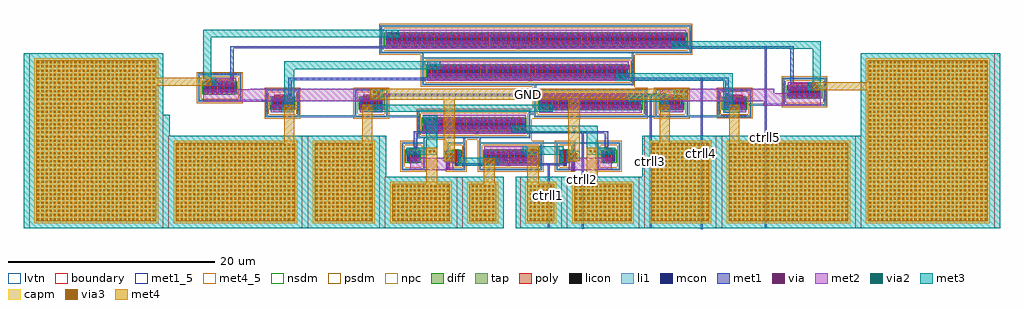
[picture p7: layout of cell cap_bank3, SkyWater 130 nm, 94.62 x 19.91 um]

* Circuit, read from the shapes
.subckt cap_bank3 GND ctrll1 ctrll2 ctrll3 ctrll4 ctrll5
XM1 n1 ctrll5 GND GND sky130_fd_pr__nfet_01v8_lvt w=1 l=0.15 m=6
XM2 GND ctrll4 n2 GND sky130_fd_pr__nfet_01v8_lvt w=1 l=0.15 m=4
XM3 GND ctrll3 n3 GND sky130_fd_pr__nfet_01v8_lvt w=1 l=0.15 m=4
XM4 n1 ctrll5 n4 GND sky130_fd_pr__nfet_01v8_lvt w=1 l=0.15 m=60
XM5 GND ctrll2 n5 GND sky130_fd_pr__nfet_01v8_lvt w=1 l=0.15 m=2
XM6 n5 ctrll2 n6 GND sky130_fd_pr__nfet_01v8_lvt w=1 l=0.15 m=20
XM7 n2 ctrll4 n7 GND sky130_fd_pr__nfet_01v8_lvt w=1 l=0.15 m=40
XM8 n8 ctrll1 GND GND sky130_fd_pr__nfet_01v8_lvt w=1 l=0.15
XM9 n9 ctrll1 n8 GND sky130_fd_pr__nfet_01v8_lvt w=1 l=0.15 m=10
XM10 n3 ctrll3 n10 GND sky130_fd_pr__nfet_01v8_lvt w=1 l=0.15 m=20
XM11 GND ctrll1 n9 GND sky130_fd_pr__nfet_01v8_lvt w=1 l=0.15
XM12 GND ctrll2 n6 GND sky130_fd_pr__nfet_01v8_lvt w=1 l=0.15 m=2
XM13 GND ctrll3 n10 GND sky130_fd_pr__nfet_01v8_lvt w=1 l=0.15 m=4
XM14 GND ctrll4 n7 GND sky130_fd_pr__nfet_01v8_lvt w=1 l=0.15 m=4
XM15 n4 ctrll5 GND GND sky130_fd_pr__nfet_01v8_lvt w=1 l=0.15 m=6
XC16 n1 n11 sky130_fd_pr__cap_mim_m3_1 w=12 l=16
XC17 n2 n11 sky130_fd_pr__cap_mim_m3_1 w=12 l=8
XC18 n3 n11 sky130_fd_pr__cap_mim_m3_1 w=6 l=8
XC19 n5 n11 sky130_fd_pr__cap_mim_m3_1 w=6 l=4
XC20 n8 n11 sky130_fd_pr__cap_mim_m3_1 w=3 l=4
XC21 n9 n12 sky130_fd_pr__cap_mim_m3_1 w=3 l=4
XC22 n6 n12 sky130_fd_pr__cap_mim_m3_1 w=6 l=4
XC23 n10 n12 sky130_fd_pr__cap_mim_m3_1 w=6 l=8
XC24 n7 n12 sky130_fd_pr__cap_mim_m3_1 w=12 l=8
XC25 n4 n12 sky130_fd_pr__cap_mim_m3_1 w=12 l=16
.ends

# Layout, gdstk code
from math import pi, radians
import gdstk
lib = gdstk.Library(unit=1e-6, precision=1e-09)
def R(c, l, rs):  # rectangles x0, y0, x1, y1
    for r in rs: c.add(gdstk.rectangle(r[:2], r[2:], *l))
def A(c, l, x, y, w, h, nx, ny, dx, dy):  # array of equal rectangles
    R(c, l, [(x+i*dx, y+j*dy, x+i*dx+w, y+j*dy+h) for i in range(nx) for j in range(ny)])
diff = (65, 20)
tap = (65, 44)
poly = (66, 20)
licon = (66, 44)
li1 = (67, 20)
mcon = (67, 44)
met1_5 = (68, 5)
met1 = (68, 20)
via = (68, 44)
met2 = (69, 20)
via2 = (69, 44)
met3 = (70, 20)
via3 = (70, 44)
met4_5 = (71, 5)
met4 = (71, 20)
capm = (89, 44)
nsdm = (93, 44)
psdm = (94, 20)
npc = (95, 20)
lvtn = (125, 44)
boundary = (235, 4)

sky130_fd_pr__cap_mim_m3 = lib.new_cell('sky130_fd_pr__cap_mim_m3_1_MYMY8D')
R(sky130_fd_pr__cap_mim_m3, met3, [(-3.75,-4.5,3.745,4.5)])
A(sky130_fd_pr__cap_mim_m3, via3, -2.95, -3.7, 0.2, 0.2, 14, 19, 0.4, 0.4)
R(sky130_fd_pr__cap_mim_m3, met4, [(-3.055,-3.805,2.555,3.805)])
R(sky130_fd_pr__cap_mim_m3, capm, [(-3.25,-4,2.75,4)])
R(sky130_fd_pr__cap_mim_m3, boundary, [(-3.75,-4.5,3.25,4.5)])

c_sky130_fd_pr__cap_mim_m3 = lib.new_cell('sky130_fd_pr__cap_mim_m3_1_CYFFME')
R(c_sky130_fd_pr__cap_mim_m3, met3, [(-6.75,-4.5,6.745,4.5)])
A(c_sky130_fd_pr__cap_mim_m3, via3, -5.95, -3.7, 0.2, 0.2, 29, 19, 0.4, 0.4)
R(c_sky130_fd_pr__cap_mim_m3, met4, [(-6.055,-3.805,5.555,3.805)])
R(c_sky130_fd_pr__cap_mim_m3, capm, [(-6.25,-4,5.75,4)])
R(c_sky130_fd_pr__cap_mim_m3, boundary, [(-6.75,-4.5,6.25,4.5)])

c_sky130_fd_pr__cap_mim_m3_ = lib.new_cell('sky130_fd_pr__cap_mim_m3_1_A6B8BZ')
R(c_sky130_fd_pr__cap_mim_m3_, met3, [(-6.75,-8.5,6.745,8.5)])
A(c_sky130_fd_pr__cap_mim_m3_, via3, -5.95, -7.7, 0.2, 0.2, 29, 39, 0.4, 0.4)
R(c_sky130_fd_pr__cap_mim_m3_, met4, [(-6.055,-7.805,5.555,7.805)])
R(c_sky130_fd_pr__cap_mim_m3_, capm, [(-6.25,-8,5.75,8)])
R(c_sky130_fd_pr__cap_mim_m3_, boundary, [(-6.75,-8.5,6.25,8.5)])

sky130_fd_pr__nfet_01v8_ = lib.new_cell('sky130_fd_pr__nfet_01v8_lvt_HNLS5R')
R(sky130_fd_pr__nfet_01v8_, diff, [(-1.11,-0.5,1.1,0.5)])
R(sky130_fd_pr__nfet_01v8_, tap, [(-1.62,-1.37,1.61,-1.2), (-1.62,-1.2,-1.45,1.2), (1.44,-1.2,1.61,1.2), (-1.62,1.2,1.61,1.37)])
R(sky130_fd_pr__nfet_01v8_, poly, [(-0.8,-0.63,-0.65,0.63), (-0.32,-0.63,-0.17,0.61), (0.16,-0.63,0.31,0.63), (0.64,-0.63,0.79,0.61), (-0.41,0.61,-0.08,0.63), (0.55,0.61,0.88,0.63), (-0.8,0.63,0.88,0.81), (0.55,0.81,0.88,0.94)])
A(sky130_fd_pr__nfet_01v8_, licon, -1.11, -1.37, 0.17, 0.17, 7, 2, 0.34, 2.57)
A(sky130_fd_pr__nfet_01v8_, licon, -1.62, -0.765, 0.17, 0.17, 1, 5, 0, 0.34)
A(sky130_fd_pr__nfet_01v8_, licon, 1.44, -0.765, 0.17, 0.17, 1, 5, 0, 0.34)
A(sky130_fd_pr__nfet_01v8_, licon, -1.05, -0.425, 0.17, 0.17, 5, 3, 0.48, 0.34)
R(sky130_fd_pr__nfet_01v8_, licon, [(0.63,0.69,0.8,0.86)])
A(sky130_fd_pr__nfet_01v8_, li1, -1.05, -0.52, 0.17, 1.04, 5, 1, 0.48, 0)
R(sky130_fd_pr__nfet_01v8_, li1, [(-1.62,-1.37,1.61,-1.2), (-1.62,-1.2,-1.45,1.2), (1.44,-1.2,1.61,1.2), (0.55,0.69,0.88,0.86), (-1.62,1.2,1.61,1.37)])
A(sky130_fd_pr__nfet_01v8_, mcon, -1.05, -0.265, 0.17, 0.17, 5, 2, 0.48, 0.36)
R(sky130_fd_pr__nfet_01v8_, mcon, [(0.63,0.69,0.8,0.86)])
A(sky130_fd_pr__nfet_01v8_, met1, -1.13, -0.5, 0.33, 0.33, 3, 1, 0.96, 0)
A(sky130_fd_pr__nfet_01v8_, met1, -1.08, -0.17, 0.23, 0.67, 3, 1, 0.96, 0)
R(sky130_fd_pr__nfet_01v8_, met1, [(-0.6,-0.5,-0.37,0.17), (0.36,-0.5,0.59,0.17), (-0.65,0.17,-0.32,0.5), (0.31,0.17,0.64,0.5), (0.55,0.66,0.88,0.94)])
A(sky130_fd_pr__nfet_01v8_, via, -1.04, -0.41, 0.15, 0.15, 3, 1, 0.96, 0)
R(sky130_fd_pr__nfet_01v8_, via, [(-0.57,0.26,-0.42,0.41), (0.39,0.26,0.54,0.41)])
R(sky130_fd_pr__nfet_01v8_, met2, [(-1.13,-0.87,1.12,-0.17), (-1.13,0.17,1.12,0.87)])
R(sky130_fd_pr__nfet_01v8_, nsdm, [(-1.235,-0.625,1.225,0.625)])
R(sky130_fd_pr__nfet_01v8_, psdm, [(-1.745,-1.495,1.735,-1.075), (-1.745,-1.075,-1.325,1.075), (1.315,-1.075,1.735,1.075), (-1.745,1.075,1.735,1.495)])
R(sky130_fd_pr__nfet_01v8_, npc, [(0.53,0.59,0.9,0.96)])
R(sky130_fd_pr__nfet_01v8_, lvtn, [(-0.98,-0.68,0.97,0.68)])
R(sky130_fd_pr__nfet_01v8_, boundary, [(-1.53,-1.28,1.53,1.28)])

c_sky130_fd_pr__nfet_01v8_ = lib.new_cell('sky130_fd_pr__nfet_01v8_lvt_B6HS5D')
R(c_sky130_fd_pr__nfet_01v8_, diff, [(-1.59,-0.5,1.58,0.5)])
R(c_sky130_fd_pr__nfet_01v8_, tap, [(-2.1,-1.37,2.09,-1.2), (-2.1,-1.2,-1.93,1.2), (1.92,-1.2,2.09,1.2), (-2.1,1.2,2.09,1.37)])
A(c_sky130_fd_pr__nfet_01v8_, poly, -1.28, -0.63, 0.15, 1.26, 3, 1, 0.96, 0)
A(c_sky130_fd_pr__nfet_01v8_, poly, -0.8, -0.63, 0.15, 1.24, 3, 1, 0.96, 0)
A(c_sky130_fd_pr__nfet_01v8_, poly, -0.89, 0.61, 0.33, 0.02, 3, 1, 0.96, 0)
R(c_sky130_fd_pr__nfet_01v8_, poly, [(-1.28,0.63,1.36,0.8), (1.03,0.8,1.36,0.94)])
A(c_sky130_fd_pr__nfet_01v8_, licon, -1.62, -1.37, 0.17, 0.17, 10, 2, 0.34, 2.57)
A(c_sky130_fd_pr__nfet_01v8_, licon, -2.1, -0.765, 0.17, 0.17, 1, 5, 0, 0.34)
A(c_sky130_fd_pr__nfet_01v8_, licon, 1.92, -0.765, 0.17, 0.17, 1, 5, 0, 0.34)
A(c_sky130_fd_pr__nfet_01v8_, licon, -1.53, -0.425, 0.17, 0.17, 7, 3, 0.48, 0.34)
R(c_sky130_fd_pr__nfet_01v8_, licon, [(1.11,0.69,1.28,0.86)])
A(c_sky130_fd_pr__nfet_01v8_, li1, -1.53, -0.52, 0.17, 1.04, 7, 1, 0.48, 0)
R(c_sky130_fd_pr__nfet_01v8_, li1, [(-2.1,-1.37,2.09,-1.2), (-2.1,-1.2,-1.93,1.2), (1.92,-1.2,2.09,1.2), (1.03,0.69,1.36,0.86), (-2.1,1.2,2.09,1.37)])
A(c_sky130_fd_pr__nfet_01v8_, mcon, -1.53, -0.265, 0.17, 0.17, 7, 2, 0.48, 0.36)
R(c_sky130_fd_pr__nfet_01v8_, mcon, [(1.11,0.69,1.28,0.86)])
A(c_sky130_fd_pr__nfet_01v8_, met1, -1.61, -0.5, 0.33, 0.36, 4, 1, 0.96, 0)
A(c_sky130_fd_pr__nfet_01v8_, met1, -1.08, -0.5, 0.23, 0.64, 3, 1, 0.96, 0)
A(c_sky130_fd_pr__nfet_01v8_, met1, -1.56, -0.14, 0.23, 0.64, 4, 1, 0.96, 0)
A(c_sky130_fd_pr__nfet_01v8_, met1, -1.13, 0.14, 0.33, 0.36, 3, 1, 0.96, 0)
R(c_sky130_fd_pr__nfet_01v8_, met1, [(1.03,0.66,1.36,0.92)])
A(c_sky130_fd_pr__nfet_01v8_, via, -1.52, -0.395, 0.15, 0.15, 4, 1, 0.96, 0)
A(c_sky130_fd_pr__nfet_01v8_, via, -1.04, 0.245, 0.15, 0.15, 3, 1, 0.96, 0)
R(c_sky130_fd_pr__nfet_01v8_, met2, [(-1.61,-0.94,1.6,-0.14), (-1.61,0.14,1.6,0.94)])
R(c_sky130_fd_pr__nfet_01v8_, nsdm, [(-1.715,-0.625,1.705,0.625)])
R(c_sky130_fd_pr__nfet_01v8_, psdm, [(-2.225,-1.495,2.215,-1.075), (-2.225,-1.075,-1.805,1.075), (1.795,-1.075,2.215,1.075), (-2.225,1.075,2.215,1.495)])
R(c_sky130_fd_pr__nfet_01v8_, npc, [(1.01,0.59,1.38,0.96)])
R(c_sky130_fd_pr__nfet_01v8_, lvtn, [(-1.46,-0.68,1.45,0.68)])
R(c_sky130_fd_pr__nfet_01v8_, boundary, [(-2.01,-1.28,2.01,1.28)])

c_sky130_fd_pr__cap_mim_m3__ = lib.new_cell('sky130_fd_pr__cap_mim_m3_1_VCH7EQ')
R(c_sky130_fd_pr__cap_mim_m3__, met3, [(-3.75,-2.5,3.745,2.5)])
A(c_sky130_fd_pr__cap_mim_m3__, via3, -2.95, -1.7, 0.2, 0.2, 14, 9, 0.4, 0.4)
R(c_sky130_fd_pr__cap_mim_m3__, met4, [(-3.055,-1.805,2.555,1.805)])
R(c_sky130_fd_pr__cap_mim_m3__, capm, [(-3.25,-2,2.75,2)])
R(c_sky130_fd_pr__cap_mim_m3__, boundary, [(-3.75,-2.5,3.25,2.5)])

c_sky130_fd_pr__nfet_01v8__ = lib.new_cell('sky130_fd_pr__nfet_01v8_lvt_648S5X')
R(c_sky130_fd_pr__nfet_01v8__, diff, [(-0.37,-0.5,0.36,0.5)])
R(c_sky130_fd_pr__nfet_01v8__, tap, [(-0.88,-1.37,0.87,-1.2), (-0.88,-1.2,-0.71,1.2), (0.7,-1.2,0.87,1.2), (-0.88,1.2,0.87,1.37)])
R(c_sky130_fd_pr__nfet_01v8__, poly, [(-0.17,-0.94,0.16,-0.61), (-0.08,-0.61,0.07,0.63)])
A(c_sky130_fd_pr__nfet_01v8__, licon, -0.88, -0.765, 0.17, 0.17, 1, 5, 0, 0.34)
A(c_sky130_fd_pr__nfet_01v8__, licon, 0.7, -0.765, 0.17, 0.17, 1, 5, 0, 0.34)
A(c_sky130_fd_pr__nfet_01v8__, licon, -0.31, -0.425, 0.17, 0.17, 1, 3, 0, 0.34)
A(c_sky130_fd_pr__nfet_01v8__, licon, 0.13, -0.425, 0.17, 0.17, 1, 3, 0, 0.34)
R(c_sky130_fd_pr__nfet_01v8__, licon, [(-0.26,-1.37,-0.09,-1.2), (0.08,-1.37,0.25,-1.2), (-0.09,-0.86,0.08,-0.69), (-0.26,1.2,-0.09,1.37), (0.08,1.2,0.25,1.37)])
R(c_sky130_fd_pr__nfet_01v8__, li1, [(-0.88,-1.37,0.87,-1.2), (-0.88,-1.2,-0.71,1.2), (0.7,-1.2,0.87,1.2), (-0.17,-0.86,0.16,-0.69), (-0.31,-0.52,-0.14,0.52), (0.13,-0.52,0.3,0.52), (-0.88,1.2,0.87,1.37)])
R(c_sky130_fd_pr__nfet_01v8__, mcon, [(-0.09,-0.86,0.08,-0.69), (-0.31,-0.265,-0.14,-0.095), (0.13,-0.265,0.3,-0.095), (-0.31,0.095,-0.14,0.265), (0.13,0.095,0.3,0.265)])
R(c_sky130_fd_pr__nfet_01v8__, met1, [(-0.15,-0.89,0.14,-0.86), (-0.17,-0.86,0.39,-0.69), (-0.15,-0.69,0.14,-0.66), (-0.46,-0.5,-0.1,0.51), (0.1,-0.5,0.46,0.51)])
R(c_sky130_fd_pr__nfet_01v8__, via, [(-0.345,-0.235,-0.195,-0.085), (0.185,-0.235,0.335,-0.085), (-0.345,0.085,-0.195,0.235), (0.185,0.085,0.335,0.235)])
R(c_sky130_fd_pr__nfet_01v8__, met2, [(-0.88,-0.5,-0.1,0.51), (0.1,-0.5,0.5,0.51)])
R(c_sky130_fd_pr__nfet_01v8__, via2, [(-0.61,-0.3,-0.41,-0.1), (0.25,-0.3,0.45,-0.1), (-0.61,0.1,-0.41,0.3), (0.25,0.1,0.45,0.3)])
R(c_sky130_fd_pr__nfet_01v8__, met3, [(-0.88,-0.5,-0.18,0.51), (0.18,-0.5,0.53,0.51)])
R(c_sky130_fd_pr__nfet_01v8__, nsdm, [(-0.495,-0.625,0.485,0.625)])
R(c_sky130_fd_pr__nfet_01v8__, psdm, [(-1.005,-1.495,0.995,-1.075), (-1.005,-1.075,-0.585,1.075), (0.575,-1.075,0.995,1.075), (-1.005,1.075,0.995,1.495)])
R(c_sky130_fd_pr__nfet_01v8__, npc, [(-0.19,-0.96,0.18,-0.59)])
R(c_sky130_fd_pr__nfet_01v8__, lvtn, [(-0.26,-0.68,0.25,0.68)])
R(c_sky130_fd_pr__nfet_01v8__, boundary, [(-0.79,-1.28,0.79,1.28)])

c_sky130_fd_pr__nfet_01v8___ = lib.new_cell('sky130_fd_pr__nfet_01v8_lvt_DJ7QE5')
R(c_sky130_fd_pr__nfet_01v8___, diff, [(-0.63,-0.5,0.62,0.5)])
R(c_sky130_fd_pr__nfet_01v8___, tap, [(-1.14,-1.37,1.13,-1.2), (-1.14,-1.2,-0.97,1.2), (0.96,-1.2,1.13,1.2), (-1.14,1.2,1.13,1.37)])
R(c_sky130_fd_pr__nfet_01v8___, poly, [(-0.32,-0.63,-0.17,0.63), (0.16,-0.63,0.31,0.61), (0.07,0.61,0.4,0.63), (-0.32,0.63,0.4,0.79), (0.07,0.79,0.4,0.94)])
A(c_sky130_fd_pr__nfet_01v8___, licon, -0.6, -1.37, 0.17, 0.17, 4, 2, 0.34, 2.57)
A(c_sky130_fd_pr__nfet_01v8___, licon, -1.14, -0.765, 0.17, 0.17, 1, 5, 0, 0.34)
A(c_sky130_fd_pr__nfet_01v8___, licon, 0.96, -0.765, 0.17, 0.17, 1, 5, 0, 0.34)
A(c_sky130_fd_pr__nfet_01v8___, licon, -0.57, -0.425, 0.17, 0.17, 3, 3, 0.48, 0.34)
R(c_sky130_fd_pr__nfet_01v8___, licon, [(0.15,0.69,0.32,0.86)])
A(c_sky130_fd_pr__nfet_01v8___, li1, -0.57, -0.52, 0.17, 1.04, 3, 1, 0.48, 0)
R(c_sky130_fd_pr__nfet_01v8___, li1, [(-1.14,-1.37,1.13,-1.2), (-1.14,-1.2,-0.97,1.2), (0.96,-1.2,1.13,1.2), (0.07,0.69,0.4,0.86), (-1.14,1.2,1.13,1.37)])
A(c_sky130_fd_pr__nfet_01v8___, mcon, -0.57, -0.265, 0.17, 0.17, 3, 2, 0.48, 0.36)
R(c_sky130_fd_pr__nfet_01v8___, mcon, [(0.15,0.69,0.32,0.86)])
R(c_sky130_fd_pr__nfet_01v8___, met1, [(-0.6,-0.5,-0.37,0.14), (-0.17,-0.5,0.16,-0.14), (0.36,-0.5,0.59,0.14), (-0.12,-0.14,0.11,0.5), (-0.65,0.14,-0.32,0.5), (0.31,0.14,0.64,0.5), (0.07,0.66,0.4,0.95)])
R(c_sky130_fd_pr__nfet_01v8___, via, [(-0.07,-0.39,0.08,-0.24), (-0.56,0.25,-0.41,0.4), (0.4,0.26,0.55,0.41)])
R(c_sky130_fd_pr__nfet_01v8___, met2, [(-0.24,-0.5,0.25,-0.14), (-0.63,0.14,0.64,0.5)])
R(c_sky130_fd_pr__nfet_01v8___, via2, [(-0.33,0.25,-0.13,0.45), (0.07,0.25,0.27,0.45)])
R(c_sky130_fd_pr__nfet_01v8___, met3, [(-0.65,0.14,0.64,0.6)])
R(c_sky130_fd_pr__nfet_01v8___, nsdm, [(-0.755,-0.625,0.745,0.625)])
R(c_sky130_fd_pr__nfet_01v8___, psdm, [(-1.265,-1.495,1.255,-1.075), (-1.265,-1.075,-0.845,1.075), (0.835,-1.075,1.255,1.075), (-1.265,1.075,1.255,1.495)])
R(c_sky130_fd_pr__nfet_01v8___, npc, [(0.05,0.59,0.42,0.96)])
R(c_sky130_fd_pr__nfet_01v8___, lvtn, [(-0.5,-0.68,0.49,0.68)])
R(c_sky130_fd_pr__nfet_01v8___, boundary, [(-1.05,-1.28,1.05,1.28)])

c_sky130_fd_pr__nfet_01v8____ = lib.new_cell('sky130_fd_pr__nfet_01v8_lvt_YTLFGX')
R(c_sky130_fd_pr__nfet_01v8____, diff, [(-4.95,-0.5,4.94,0.5)])
R(c_sky130_fd_pr__nfet_01v8____, tap, [(-5.46,-1.37,5.45,-1.2), (-5.46,-1.2,-5.29,1.2), (5.28,-1.2,5.45,1.2), (-5.46,1.2,5.45,1.37)])
A(c_sky130_fd_pr__nfet_01v8____, poly, -4.73, -0.94, 0.33, 0.08, 10, 1, 0.96, 0)
A(c_sky130_fd_pr__nfet_01v8____, poly, -4.64, -0.61, 0.15, 1.24, 20, 1, 0.48, 0)
R(c_sky130_fd_pr__nfet_01v8____, poly, [(-4.73,-0.86,4.63,-0.61)])
A(c_sky130_fd_pr__nfet_01v8____, licon, -4.85, -1.37, 0.17, 0.17, 29, 2, 0.34, 2.57)
A(c_sky130_fd_pr__nfet_01v8____, licon, -5.46, -0.765, 0.17, 0.17, 1, 5, 0, 0.34)
A(c_sky130_fd_pr__nfet_01v8____, licon, 5.28, -0.765, 0.17, 0.17, 1, 5, 0, 0.34)
A(c_sky130_fd_pr__nfet_01v8____, licon, -4.89, -0.425, 0.17, 0.17, 21, 3, 0.48, 0.34)
R(c_sky130_fd_pr__nfet_01v8____, licon, [(0.15,-0.86,0.32,-0.69)])
A(c_sky130_fd_pr__nfet_01v8____, li1, -4.89, -0.52, 0.17, 1.04, 21, 1, 0.48, 0)
R(c_sky130_fd_pr__nfet_01v8____, li1, [(-5.46,-1.37,5.45,-1.2), (-5.46,-1.2,-5.29,1.2), (5.28,-1.2,5.45,1.2), (0.07,-0.86,0.4,-0.69), (-5.46,1.2,5.45,1.37)])
A(c_sky130_fd_pr__nfet_01v8____, mcon, -4.89, -0.265, 0.17, 0.17, 21, 2, 0.48, 0.36)
R(c_sky130_fd_pr__nfet_01v8____, mcon, [(0.15,-0.86,0.32,-0.69)])
A(c_sky130_fd_pr__nfet_01v8____, met1, -4.97, -0.5, 0.33, 0.36, 11, 1, 0.96, 0)
A(c_sky130_fd_pr__nfet_01v8____, met1, -4.44, -0.5, 0.23, 0.64, 10, 1, 0.96, 0)
A(c_sky130_fd_pr__nfet_01v8____, met1, -4.92, -0.14, 0.23, 0.64, 11, 1, 0.96, 0)
A(c_sky130_fd_pr__nfet_01v8____, met1, -4.49, 0.14, 0.33, 0.36, 10, 1, 0.96, 0)
R(c_sky130_fd_pr__nfet_01v8____, met1, [(-4.73,-0.9,4.63,-0.66)])
A(c_sky130_fd_pr__nfet_01v8____, via, -4.875, -0.395, 0.15, 0.15, 11, 1, 0.96, 0)
A(c_sky130_fd_pr__nfet_01v8____, via, -4.395, 0.245, 0.15, 0.15, 10, 1, 0.96, 0)
R(c_sky130_fd_pr__nfet_01v8____, met2, [(-4.98,-0.94,4.97,-0.14), (-4.97,0.14,4.98,0.94)])
R(c_sky130_fd_pr__nfet_01v8____, nsdm, [(-5.075,-0.625,5.065,0.625)])
R(c_sky130_fd_pr__nfet_01v8____, psdm, [(-5.585,-1.495,5.575,-1.075), (-5.585,-1.075,-5.165,1.075), (5.155,-1.075,5.575,1.075), (-5.585,1.075,5.575,1.495)])
R(c_sky130_fd_pr__nfet_01v8____, npc, [(0.05,-0.96,0.42,-0.59)])
R(c_sky130_fd_pr__nfet_01v8____, lvtn, [(-4.82,-0.68,4.81,0.68)])
R(c_sky130_fd_pr__nfet_01v8____, boundary, [(-5.37,-1.28,5.37,1.28)])

c_sky130_fd_pr__cap_mim_m3___ = lib.new_cell('sky130_fd_pr__cap_mim_m3_1_3ZFDVT')
R(c_sky130_fd_pr__cap_mim_m3___, met3, [(-2.25,-2.5,2.245,2.5)])
A(c_sky130_fd_pr__cap_mim_m3___, via3, -1.35, -1.7, 0.2, 0.2, 6, 9, 0.4, 0.4)
R(c_sky130_fd_pr__cap_mim_m3___, met4, [(-1.555,-1.805,1.055,1.805)])
R(c_sky130_fd_pr__cap_mim_m3___, capm, [(-1.75,-2,1.25,2)])
R(c_sky130_fd_pr__cap_mim_m3___, boundary, [(-2.25,-2.5,1.75,2.5)])

c_sky130_fd_pr__nfet_01v8_____ = lib.new_cell('sky130_fd_pr__nfet_01v8_lvt_9DHFGX')
R(c_sky130_fd_pr__nfet_01v8_____, diff, [(-2.55,-0.5,2.54,0.5)])
R(c_sky130_fd_pr__nfet_01v8_____, tap, [(-3.06,-1.37,3.05,-1.2), (-3.06,-1.2,-2.89,1.2), (2.88,-1.2,3.05,1.2), (-3.06,1.2,3.05,1.37)])
A(c_sky130_fd_pr__nfet_01v8_____, poly, -2.33, -0.94, 0.33, 0.05, 5, 1, 0.96, 0)
A(c_sky130_fd_pr__nfet_01v8_____, poly, -2.33, -0.69, 0.33, 0.08, 5, 1, 0.96, 0)
A(c_sky130_fd_pr__nfet_01v8_____, poly, -1.76, -0.69, 0.15, 1.32, 5, 1, 0.96, 0)
A(c_sky130_fd_pr__nfet_01v8_____, poly, -2.24, -0.61, 0.15, 1.24, 5, 1, 0.96, 0)
R(c_sky130_fd_pr__nfet_01v8_____, poly, [(-2.33,-0.89,2.23,-0.69)])
A(c_sky130_fd_pr__nfet_01v8_____, licon, -2.47, -1.37, 0.17, 0.17, 15, 2, 0.34, 2.57)
A(c_sky130_fd_pr__nfet_01v8_____, licon, -3.06, -0.765, 0.17, 0.17, 1, 5, 0, 0.34)
A(c_sky130_fd_pr__nfet_01v8_____, licon, 2.88, -0.765, 0.17, 0.17, 1, 5, 0, 0.34)
A(c_sky130_fd_pr__nfet_01v8_____, licon, -2.49, -0.425, 0.17, 0.17, 11, 3, 0.48, 0.34)
R(c_sky130_fd_pr__nfet_01v8_____, licon, [(-0.33,-0.86,-0.16,-0.69)])
A(c_sky130_fd_pr__nfet_01v8_____, li1, -2.49, -0.52, 0.17, 1.04, 11, 1, 0.48, 0)
R(c_sky130_fd_pr__nfet_01v8_____, li1, [(-3.06,-1.37,3.05,-1.2), (-3.06,-1.2,-2.89,1.2), (2.88,-1.2,3.05,1.2), (-0.41,-0.86,-0.08,-0.69), (-3.06,1.2,3.05,1.37)])
A(c_sky130_fd_pr__nfet_01v8_____, mcon, -2.49, -0.265, 0.17, 0.17, 11, 2, 0.48, 0.36)
R(c_sky130_fd_pr__nfet_01v8_____, mcon, [(-0.33,-0.86,-0.16,-0.69)])
A(c_sky130_fd_pr__nfet_01v8_____, met1, -2.57, -0.5, 0.33, 0.35, 6, 1, 0.96, 0)
A(c_sky130_fd_pr__nfet_01v8_____, met1, -2.04, -0.5, 0.23, 0.65, 5, 1, 0.96, 0)
A(c_sky130_fd_pr__nfet_01v8_____, met1, -2.52, -0.15, 0.23, 0.65, 6, 1, 0.96, 0)
A(c_sky130_fd_pr__nfet_01v8_____, met1, -2.09, 0.15, 0.33, 0.35, 5, 1, 0.96, 0)
R(c_sky130_fd_pr__nfet_01v8_____, met1, [(-2.33,-0.89,2.23,-0.69), (-0.39,-0.69,-0.1,-0.66)])
R(c_sky130_fd_pr__nfet_01v8_____, via, [(-2.485,-0.405,-2.335,-0.255), (0.395,-0.405,0.545,-0.255), (2.315,-0.405,2.465,-0.255), (-1.515,-0.395,-1.365,-0.245), (-0.555,-0.395,-0.405,-0.245), (1.365,-0.395,1.515,-0.245), (-1.995,0.255,-1.845,0.405), (-1.035,0.255,-0.885,0.405), (-0.085,0.255,0.065,0.405), (0.885,0.255,1.035,0.405), (1.845,0.255,1.995,0.405)])
R(c_sky130_fd_pr__nfet_01v8_____, met2, [(-2.57,-0.94,2.56,-0.15), (-2.57,0.15,2.56,0.94)])
R(c_sky130_fd_pr__nfet_01v8_____, via2, [(-2.225,-0.465,-2.025,-0.265), (-1.825,-0.465,-1.625,-0.265), (1.525,0.255,1.725,0.455), (1.925,0.255,2.125,0.455)])
R(c_sky130_fd_pr__nfet_01v8_____, met3, [(-2.57,-0.59,-1.27,-0.15), (1.24,0.15,2.54,0.59)])
R(c_sky130_fd_pr__nfet_01v8_____, nsdm, [(-2.675,-0.625,2.665,0.625)])
R(c_sky130_fd_pr__nfet_01v8_____, psdm, [(-3.185,-1.495,3.175,-1.075), (-3.185,-1.075,-2.765,1.075), (2.755,-1.075,3.175,1.075), (-3.185,1.075,3.175,1.495)])
R(c_sky130_fd_pr__nfet_01v8_____, npc, [(-0.43,-0.96,-0.06,-0.59)])
R(c_sky130_fd_pr__nfet_01v8_____, lvtn, [(-2.42,-0.68,2.41,0.68)])
R(c_sky130_fd_pr__nfet_01v8_____, boundary, [(-2.97,-1.28,2.97,1.28)])

c_sky130_fd_pr__nfet_01v8______ = lib.new_cell('sky130_fd_pr__nfet_01v8_lvt_LELFGX')
R(c_sky130_fd_pr__nfet_01v8______, diff, [(-14.55,-0.5,14.54,0.5)])
R(c_sky130_fd_pr__nfet_01v8______, tap, [(-15.06,-1.37,15.05,-1.2), (-15.06,-1.2,-14.89,1.2), (14.88,-1.2,15.05,1.2), (-15.06,1.2,15.05,1.37)])
A(c_sky130_fd_pr__nfet_01v8______, poly, -14.33, -0.94, 0.33, 0.13, 30, 1, 0.96, 0)
A(c_sky130_fd_pr__nfet_01v8______, poly, -14.33, -0.63, 0.33, 0.02, 30, 1, 0.96, 0)
A(c_sky130_fd_pr__nfet_01v8______, poly, -13.76, -0.63, 0.15, 1.26, 30, 1, 0.96, 0)
A(c_sky130_fd_pr__nfet_01v8______, poly, -14.24, -0.61, 0.15, 1.24, 30, 1, 0.96, 0)
R(c_sky130_fd_pr__nfet_01v8______, poly, [(-14.33,-0.81,14.23,-0.63)])
A(c_sky130_fd_pr__nfet_01v8______, licon, -14.54, -1.37, 0.17, 0.17, 86, 2, 0.34, 2.57)
A(c_sky130_fd_pr__nfet_01v8______, licon, -15.06, -0.765, 0.17, 0.17, 1, 5, 0, 0.34)
A(c_sky130_fd_pr__nfet_01v8______, licon, 14.88, -0.765, 0.17, 0.17, 1, 5, 0, 0.34)
A(c_sky130_fd_pr__nfet_01v8______, licon, -14.49, -0.425, 0.17, 0.17, 61, 3, 0.48, 0.34)
R(c_sky130_fd_pr__nfet_01v8______, licon, [(-1.77,-0.86,-1.6,-0.69)])
A(c_sky130_fd_pr__nfet_01v8______, li1, -14.49, -0.52, 0.17, 1.04, 61, 1, 0.48, 0)
R(c_sky130_fd_pr__nfet_01v8______, li1, [(-15.06,-1.37,15.05,-1.2), (-15.06,-1.2,-14.89,1.2), (14.88,-1.2,15.05,1.2), (-1.85,-0.86,-1.52,-0.69), (-15.06,1.2,15.05,1.37)])
A(c_sky130_fd_pr__nfet_01v8______, mcon, -14.49, -0.265, 0.17, 0.17, 61, 2, 0.48, 0.36)
R(c_sky130_fd_pr__nfet_01v8______, mcon, [(-1.77,-0.86,-1.6,-0.69)])
A(c_sky130_fd_pr__nfet_01v8______, met1, -14.57, -0.5, 0.33, 0.33, 31, 1, 0.96, 0)
A(c_sky130_fd_pr__nfet_01v8______, met1, -14.04, -0.5, 0.23, 0.67, 30, 1, 0.96, 0)
A(c_sky130_fd_pr__nfet_01v8______, met1, -14.52, -0.17, 0.23, 0.67, 31, 1, 0.96, 0)
A(c_sky130_fd_pr__nfet_01v8______, met1, -14.09, 0.17, 0.33, 0.33, 30, 1, 0.96, 0)
R(c_sky130_fd_pr__nfet_01v8______, met1, [(-14.33,-0.89,14.23,-0.66)])
A(c_sky130_fd_pr__nfet_01v8______, via, -14.48, -0.41, 0.15, 0.15, 31, 1, 0.96, 0)
A(c_sky130_fd_pr__nfet_01v8______, via, -14, 0.26, 0.15, 0.15, 30, 1, 0.96, 0)
R(c_sky130_fd_pr__nfet_01v8______, met2, [(-14.57,-0.94,14.58,-0.17), (-14.57,0.17,14.58,0.94)])
R(c_sky130_fd_pr__nfet_01v8______, nsdm, [(-14.675,-0.625,14.665,0.625)])
R(c_sky130_fd_pr__nfet_01v8______, psdm, [(-15.185,-1.495,15.175,-1.075), (-15.185,-1.075,-14.765,1.075), (14.755,-1.075,15.175,1.075), (-15.185,1.075,15.175,1.495)])
R(c_sky130_fd_pr__nfet_01v8______, npc, [(-1.87,-0.96,-1.5,-0.59)])
R(c_sky130_fd_pr__nfet_01v8______, lvtn, [(-14.42,-0.68,14.41,0.68)])
R(c_sky130_fd_pr__nfet_01v8______, boundary, [(-14.97,-1.28,14.97,1.28)])

c_sky130_fd_pr__nfet_01v8_______ = lib.new_cell('sky130_fd_pr__nfet_01v8_lvt_A33GGX')
R(c_sky130_fd_pr__nfet_01v8_______, diff, [(-9.75,-0.5,9.74,0.5)])
R(c_sky130_fd_pr__nfet_01v8_______, tap, [(-10.26,-1.37,10.25,-1.2), (-10.26,-1.2,-10.09,1.2), (10.08,-1.2,10.25,1.2), (-10.26,1.2,10.25,1.37)])
A(c_sky130_fd_pr__nfet_01v8_______, poly, -9.53, -0.94, 0.33, 0.13, 20, 1, 0.96, 0)
A(c_sky130_fd_pr__nfet_01v8_______, poly, -9.53, -0.63, 0.33, 0.02, 20, 1, 0.96, 0)
A(c_sky130_fd_pr__nfet_01v8_______, poly, -8.96, -0.63, 0.15, 1.26, 20, 1, 0.96, 0)
A(c_sky130_fd_pr__nfet_01v8_______, poly, -9.44, -0.61, 0.15, 1.24, 20, 1, 0.96, 0)
R(c_sky130_fd_pr__nfet_01v8_______, poly, [(-9.53,-0.81,9.43,-0.63)])
A(c_sky130_fd_pr__nfet_01v8_______, licon, -9.78, -1.37, 0.17, 0.17, 58, 2, 0.34, 2.57)
A(c_sky130_fd_pr__nfet_01v8_______, licon, -10.26, -0.765, 0.17, 0.17, 1, 5, 0, 0.34)
A(c_sky130_fd_pr__nfet_01v8_______, licon, 10.08, -0.765, 0.17, 0.17, 1, 5, 0, 0.34)
A(c_sky130_fd_pr__nfet_01v8_______, licon, -9.69, -0.425, 0.17, 0.17, 41, 3, 0.48, 0.34)
R(c_sky130_fd_pr__nfet_01v8_______, licon, [(0.15,-0.86,0.32,-0.69)])
A(c_sky130_fd_pr__nfet_01v8_______, li1, -9.69, -0.52, 0.17, 1.04, 41, 1, 0.48, 0)
R(c_sky130_fd_pr__nfet_01v8_______, li1, [(-10.26,-1.37,10.25,-1.2), (-10.26,-1.2,-10.09,1.2), (10.08,-1.2,10.25,1.2), (0.07,-0.86,0.4,-0.69), (-10.26,1.2,10.25,1.37)])
A(c_sky130_fd_pr__nfet_01v8_______, mcon, -9.69, -0.265, 0.17, 0.17, 41, 2, 0.48, 0.36)
R(c_sky130_fd_pr__nfet_01v8_______, mcon, [(0.15,-0.86,0.32,-0.69)])
A(c_sky130_fd_pr__nfet_01v8_______, met1, -9.77, -0.5, 0.33, 0.32, 21, 1, 0.96, 0)
A(c_sky130_fd_pr__nfet_01v8_______, met1, -9.24, -0.5, 0.23, 0.68, 20, 1, 0.96, 0)
A(c_sky130_fd_pr__nfet_01v8_______, met1, -9.72, -0.18, 0.23, 0.68, 21, 1, 0.96, 0)
A(c_sky130_fd_pr__nfet_01v8_______, met1, -9.29, 0.18, 0.33, 0.32, 20, 1, 0.96, 0)
R(c_sky130_fd_pr__nfet_01v8_______, met1, [(-9.54,-0.89,9.43,-0.66)])
A(c_sky130_fd_pr__nfet_01v8_______, via, -9.68, -0.415, 0.15, 0.15, 21, 1, 0.96, 0)
A(c_sky130_fd_pr__nfet_01v8_______, via, -9.2, 0.265, 0.15, 0.15, 20, 1, 0.96, 0)
R(c_sky130_fd_pr__nfet_01v8_______, met2, [(-9.77,-0.94,9.76,-0.18), (-9.77,0.18,9.76,0.94)])
R(c_sky130_fd_pr__nfet_01v8_______, via2, [(8.795,-0.665,8.995,-0.465), (9.195,-0.665,9.395,-0.465), (-9.43,0.47,-9.23,0.67), (-9.03,0.47,-8.83,0.67)])
R(c_sky130_fd_pr__nfet_01v8_______, met3, [(8.47,-0.94,9.76,-0.18), (-9.77,0.18,-8.48,0.94)])
R(c_sky130_fd_pr__nfet_01v8_______, nsdm, [(-9.875,-0.625,9.865,0.625)])
R(c_sky130_fd_pr__nfet_01v8_______, psdm, [(-10.385,-1.495,10.375,-1.075), (-10.385,-1.075,-9.965,1.075), (9.955,-1.075,10.375,1.075), (-10.385,1.075,10.375,1.495)])
R(c_sky130_fd_pr__nfet_01v8_______, npc, [(0.05,-0.96,0.42,-0.59)])
R(c_sky130_fd_pr__nfet_01v8_______, lvtn, [(-9.62,-0.68,9.61,0.68)])
R(c_sky130_fd_pr__nfet_01v8_______, boundary, [(-10.17,-1.28,10.17,1.28)])

cap_bank3 = lib.new_cell('cap_bank3')
R(cap_bank3, li1, [(77.99,-14.57,78.27,-13.85), (65.88,-14.51,66.16,-13.79), (63.59,-12,63.76,-11.3), (67.5,-12,67.67,-11.3), (69.02,-12,69.19,-11.3), (74.96,-12,76.62,-11.83), (78.05,-12,80.62,-11.83), (59.99,-9.44,63.21,-9.25), (51.4,-9.43,57.11,-9.25), (85.09,-9.43,86.26,-9.26), (89.14,-9.43,92.34,-9.24), (73.83,-9.19,74.52,-9.01), (95.22,-8.3,98.62,-8.11), (45.78,-7.93,48.51,-7.75), (74.35,-6.86,74.53,-6.17), (63.48,-3.77,63.65,-3.06), (83.82,-3.77,83.99,-3.06)])
R(cap_bank3, mcon, [(78.05,-14.47,78.22,-14.3), (65.935,-14.435,66.105,-14.265), (78.05,-14.11,78.22,-13.94), (65.935,-14.075,66.105,-13.905)])
R(cap_bank3, met1_5, [(90.52,-20.28,90.71,-5.62), (78.98,-20.24,79.17,-10.76), (75.66,-20.21,75.86,-13.89), (96.71,-20.2,96.9,-2.52), (85.56,-20.18,85.77,-7.16)])
R(cap_bank3, met1, [(90.52,-20.28,90.71,-5.86), (78.98,-20.24,79.17,-11), (75.66,-20.21,75.86,-14.06), (96.71,-20.2,96.9,-2.75), (85.56,-20.18,85.77,-7.4), (77.95,-14.59,78.31,-13.81), (65.83,-14.58,66.16,-13.79), (66.63,-14.06,77.51,-13.89), (62.7,-12.54,63.03,-11), (81.18,-12.51,81.51,-11), (62.7,-11,81.51,-10.76), (50.51,-7.4,50.84,-5.86), (59.12,-7.4,87.14,-7.16), (92.9,-7.36,93.23,-5.86), (99.19,-6.29,99.52,-2.75), (44.9,-5.89,45.23,-2.75), (50.51,-5.86,93.23,-5.62), (44.9,-2.75,60.38,-2.52), (73.3,-2.75,99.52,-2.52)])
R(cap_bank3, via, [(78.05,-14.43,78.2,-14.28), (65.935,-14.42,66.085,-14.27), (78.05,-14.11,78.2,-13.96), (65.935,-14.1,66.085,-13.95)])
R(cap_bank3, met2, [(62.35,-14.58,66.53,-13.34), (77.71,-14.58,81.89,-13.34), (65.73,-13.34,66.4,-12.69), (77.71,-13.34,78.4,-12.69), (72.21,-10.88,73.39,-10.31), (63.71,-9.85,64.8,-9.37), (49.89,-8.85,50.93,-8.29), (74.95,-8.81,76.07,-8.27), (92.78,-8.81,93.8,-8.32), (58.63,-8.79,59.56,-8.36), (86.67,-8.72,87.37,-8.41), (96.63,-8.33,102.16,-7.89), (42.26,-7.93,47.89,-7.89), (42.26,-7.89,59.69,-6.69), (86.57,-7.89,102.16,-7.09), (83.52,-7.82,84.64,-7.28), (86.57,-7.09,97.61,-6.65), (46.87,-6.69,59.69,-6.65), (101.02,-6.69,102.08,-6.17), (42.34,-6.28,43.44,-5.67), (87.81,-2.72,89,-2.13), (60.01,-1.62,61.16,-0.99)])
A(cap_bank3, via2, 72.3, -10.695, 0.2, 0.2, 3, 1, 0.4, 0)
A(cap_bank3, via2, 63.755, -9.71, 0.2, 0.2, 3, 1, 0.4, 0)
A(cap_bank3, via2, 75.01, -8.64, 0.2, 0.2, 3, 1, 0.4, 0)
A(cap_bank3, via2, 83.58, -7.65, 0.2, 0.2, 3, 1, 0.4, 0)
A(cap_bank3, via2, 88.13, -7.47, 0.2, 0.2, 3, 2, 0.4, 0.4)
A(cap_bank3, via2, 42.39, -6.075, 0.2, 0.2, 3, 1, 0.4, 0)
A(cap_bank3, via2, 87.905, -2.525, 0.2, 0.2, 3, 1, 0.4, 0)
A(cap_bank3, via2, 60.085, -1.405, 0.2, 0.2, 3, 1, 0.4, 0)
R(cap_bank3, via2, [(58.795,-8.675,58.995,-8.475), (59.195,-8.675,59.395,-8.475), (50.11,-8.67,50.31,-8.47), (50.51,-8.67,50.71,-8.47), (86.72,-8.665,86.92,-8.465), (87.12,-8.665,87.32,-8.465), (92.99,-8.665,93.19,-8.465), (93.39,-8.665,93.59,-8.465), (58.755,-7.475,58.955,-7.275), (59.155,-7.475,59.355,-7.275), (58.755,-7.075,58.955,-6.875), (59.155,-7.075,59.355,-6.875), (101.25,-6.53,101.45,-6.33), (101.65,-6.53,101.85,-6.33)])
R(cap_bank3, met3, [(25.5,-20.2,71.09,-15.2), (72.59,-20.2,118.895,-15.2), (25.5,-15.2,60,-11.2), (84.84,-15.2,98.335,-11.2), (104.9,-15.2,106.05,-11.2), (67,-14.15,70.89,-13.35), (65.6,-13.7,66.67,-12.7), (77.68,-13.7,78.75,-12.69), (63.88,-13.07,64.95,-13.06), (61.97,-13.06,64.95,-12.38), (79.47,-13.06,82.23,-12.36), (73.24,-13.05,77.2,-12.25), (63.88,-12.38,64.95,-9.95), (79.47,-12.36,80.54,-10.94), (25.5,-11.2,39,-9.2), (72.12,-10.94,80.54,-10.24), (63.57,-9.95,64.95,-9.25), (92.66,-8.98,94.22,-8.22), (49.81,-8.92,51.08,-8.23), (57.69,-8.9,76.16,-8.2), (86.57,-8.89,87.48,-7.92), (50.12,-8.23,51.08,-4.78), (92.66,-8.22,93.61,-5.9), (83.39,-7.92,87.48,-7.21), (58.46,-7.71,59.68,-6.64), (87.9,-7.71,89.31,-6.64), (100.87,-6.81,102.13,-6.05), (42.26,-6.38,43.03,-6.37), (42.26,-6.37,43.51,-5.61), (101.37,-6.05,102.13,-2.8), (82.21,-5.9,93.61,-5.14), (42.26,-5.61,43.03,-1.69), (50.12,-4.78,65.26,-4.02), (87.71,-2.8,102.13,-2.04), (42.26,-1.69,61.24,-0.92)])
A(cap_bank3, via3, 88.13, -7.47, 0.2, 0.2, 3, 2, 0.4, 0.4)
R(cap_bank3, via3, [(69.715,-13.85,69.915,-13.65), (70.115,-13.85,70.315,-13.65), (77.905,-13.505,78.105,-13.305), (78.305,-13.505,78.505,-13.305), (65.81,-13.5,66.01,-13.3), (66.21,-13.5,66.41,-13.3), (77.905,-13.105,78.105,-12.905), (78.305,-13.105,78.505,-12.905), (65.81,-13.1,66.01,-12.9), (66.21,-13.1,66.41,-12.9), (64.15,-12.81,64.35,-12.61), (64.55,-12.81,64.75,-12.61), (79.725,-12.805,79.925,-12.605), (80.125,-12.805,80.325,-12.605), (73.98,-12.685,74.18,-12.485), (74.38,-12.685,74.58,-12.485), (93.43,-8.7,93.63,-8.5), (93.83,-8.7,94.03,-8.5), (50.32,-8.665,50.52,-8.465), (50.72,-8.665,50.92,-8.465), (57.89,-8.65,58.09,-8.45), (58.29,-8.65,58.49,-8.45), (86.73,-8.645,86.93,-8.445), (87.13,-8.645,87.33,-8.445), (58.755,-7.475,58.955,-7.275), (59.155,-7.475,59.355,-7.275), (58.755,-7.075,58.955,-6.875), (59.155,-7.075,59.355,-6.875), (101.65,-6.525,101.85,-6.325), (42.545,-6.1,42.745,-5.9)])
R(cap_bank3, met4_5, [(59.51,-7.71,88.04,-6.64)])
R(cap_bank3, met4, [(69.48,-16.62,70.55,-13.38), (63.88,-16.34,64.95,-12.37), (73.7,-16.29,74.82,-12.25), (79.47,-16.22,80.54,-12.36), (65.6,-13.7,66.67,-7.71), (77.68,-13.7,78.75,-7.71), (50.12,-12.57,51.08,-8.23), (57.69,-12.35,58.66,-8.2), (93.25,-12.33,94.22,-8.22), (86.52,-12.1,87.48,-8.23), (58.46,-7.71,89.31,-6.64), (101.37,-6.81,109.78,-6.05), (37.33,-6.38,43.03,-5.61)])
R(cap_bank3, psdm, [(62.955,-11.705,63.885,-11.595), (65.795,-11.705,67.795,-11.595), (68.9,-11.705,74.115,-11.595), (74.115,-9.555,74.225,-8.605), (74.225,-6.565,84.115,-6.455), (63.355,-3.465,84.115,-3.355)])
cap_bank3.add(gdstk.Reference(sky130_fd_pr__cap_mim_m3, (55.635,-15.7), rotation=pi, x_reflection=True))
cap_bank3.add(gdstk.Reference(c_sky130_fd_pr__cap_mim_m3, (45.135,-15.7), rotation=pi, x_reflection=True))
cap_bank3.add(gdstk.Reference(c_sky130_fd_pr__cap_mim_m3_, (31.635,-11.7), rotation=pi, x_reflection=True))
cap_bank3.add(gdstk.Reference(sky130_fd_pr__nfet_01v8_, (49.96,-8.06)))
cap_bank3.add(gdstk.Reference(c_sky130_fd_pr__nfet_01v8_, (43.87,-6.55)))
cap_bank3.add(gdstk.Reference(c_sky130_fd_pr__cap_mim_m3__, (63.135,-17.7), rotation=pi, x_reflection=True))
cap_bank3.add(gdstk.Reference(c_sky130_fd_pr__nfet_01v8__, (66.8,-13.2)))
cap_bank3.add(gdstk.Reference(c_sky130_fd_pr__nfet_01v8___, (62.63,-13.2)))
cap_bank3.add(gdstk.Reference(c_sky130_fd_pr__nfet_01v8____, (68.54,-10.1)))
cap_bank3.add(gdstk.Reference(c_sky130_fd_pr__cap_mim_m3___, (69.135,-17.7), rotation=pi, x_reflection=True))
cap_bank3.add(gdstk.Reference(c_sky130_fd_pr__cap_mim_m3___, (75.26,-17.7)))
cap_bank3.add(gdstk.Reference(c_sky130_fd_pr__cap_mim_m3__, (81.27,-17.7)))
cap_bank3.add(gdstk.Reference(c_sky130_fd_pr__nfet_01v8__, (77.34,-13.2), rotation=pi, x_reflection=True))
cap_bank3.add(gdstk.Reference(c_sky130_fd_pr__nfet_01v8_____, (72.085,-13.2)))
cap_bank3.add(gdstk.Reference(sky130_fd_pr__cap_mim_m3, (88.77,-15.7)))
cap_bank3.add(gdstk.Reference(c_sky130_fd_pr__nfet_01v8___, (81.58,-13.2), rotation=pi, x_reflection=True))
cap_bank3.add(gdstk.Reference(c_sky130_fd_pr__nfet_01v8______, (74.51,-1.86)))
cap_bank3.add(gdstk.Reference(c_sky130_fd_pr__nfet_01v8_______, (73.74,-4.96)))
cap_bank3.add(gdstk.Reference(c_sky130_fd_pr__nfet_01v8____, (79.81,-8.06), x_reflection=True))
cap_bank3.add(gdstk.Reference(sky130_fd_pr__nfet_01v8_, (58.57,-8.06)))
cap_bank3.add(gdstk.Reference(c_sky130_fd_pr__cap_mim_m3, (99.27,-15.7)))
cap_bank3.add(gdstk.Reference(c_sky130_fd_pr__cap_mim_m3_, (112.77,-11.7)))
cap_bank3.add(gdstk.Reference(sky130_fd_pr__nfet_01v8_, (87.69,-8.06), rotation=pi, x_reflection=True))
cap_bank3.add(gdstk.Reference(sky130_fd_pr__nfet_01v8_, (93.78,-8.05), rotation=pi, x_reflection=True))
cap_bank3.add(gdstk.Reference(c_sky130_fd_pr__nfet_01v8_, (100.55,-6.95), rotation=pi, x_reflection=True))
cap_bank3.add(gdstk.Label('GND', (73.775,-7.175), layer=71, texttype=5))
cap_bank3.add(gdstk.Label('ctrll1', (75.76,-17.05), layer=68, texttype=5))
cap_bank3.add(gdstk.Label('ctrll2', (79.075,-15.5), layer=68, texttype=5))
cap_bank3.add(gdstk.Label('ctrll3', (85.665,-13.67), layer=68, texttype=5))
cap_bank3.add(gdstk.Label('ctrll4', (90.615,-12.95), layer=68, texttype=5))
cap_bank3.add(gdstk.Label('ctrll5', (96.805,-11.36), layer=68, texttype=5))

lib.write_gds('cap_bank3.gds')
